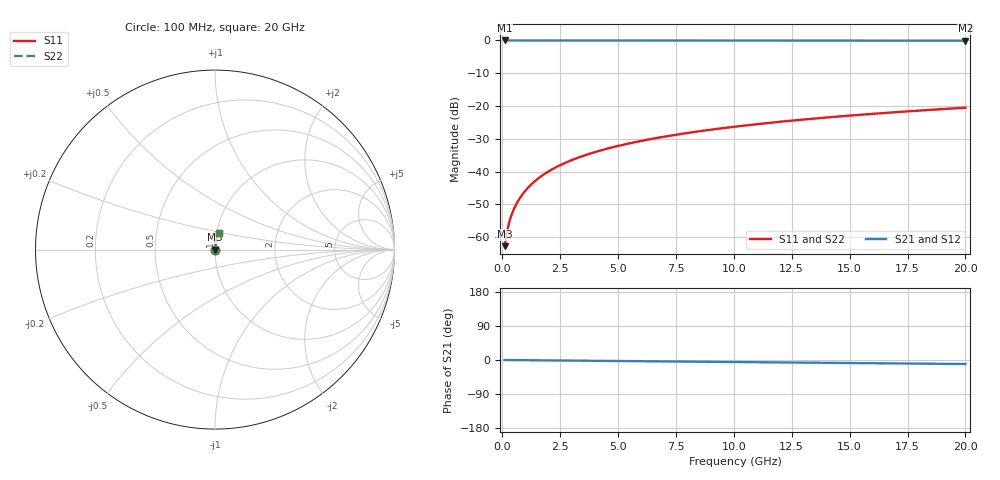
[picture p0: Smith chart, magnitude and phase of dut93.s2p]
! Touchstone file exported from HFSS 2026.1.0
!  File:  C:/ffzhzh/LocalFiles/Ansys_Project_Files/temp_train_BSMRDL_93_1782883290_42304.aedt
!  Generated:  01:22:37 PM Jul  1, 2026
!  Design:  BSMRDL
!  Project:  temp_train_BSMRDL_93_1782883290_42304
! Variables:
!  h_bsmrdl = 5.32um
!  h_ox = 20um
!  h_rdl = 5um
!  h_sub = 80um
!  h_tmrdl = 5um
!  h_tsv = 80um
!  h_via = 3um
!  l_bsmrdl = 126.65um
!  l_sub = 526.65um
!  l_tmrdl = 200um
!  m_sub = 200um
!  pitch = 51.74um
!  r_tsv = 6um
!  s_tmrdl = 10um
!  w_bsmrdl = 27.82um
!  w_sub = 500um
!  w_tmrdl = 12um
!  x_tsv_center1 = 206um
!  x_tsv_center2 = 360.47um
!  x_tsv_center3 = 572.47um
!  x_tsv_center4 = 726.94um
!  x_tsv_center5 = 938.94um
!  x_tsv_center6 = 1093.41um
# GHz S MA R 50.000000
! Terminal data exported
! Port[1] = BSM_RDL1_1_T1
! Port[2] = BSM_RDL1_1_T2
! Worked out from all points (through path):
!   200 points, 100 MHz to 20 GHz, reference 50 ohm
!   highest |S21| = 0.00 dB at 100 MHz (marker M1); lowest = -0.1 dB at 20 GHz (marker M2)
!   group delay of S21, straight-line fit = 1.47 ps
!   lowest |S11| = -62.8 dB at 100 MHz (marker M3), VSWR 1.00, Z = 50 + j0.0556 ohm
!   |S11| at or under -10 dB: start of sweep to end of sweep
!   |S22| runs from -62.8 to -20.5 dB; largest |S21 - S12| = 2.1e-15
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0.1  0.0007267 49.8  0.9995 -0.1  0.9995 -0.1  0.0007267 49.8
! Gamma 0 0 0 0
! Port Impedance 50 0 50 0
0.2  0.001202 65.0  0.9995 -0.1  0.9995 -0.1  0.001202 65.0
0.3  0.001693 71.1  0.9995 -0.2  0.9995 -0.2  0.001693 71.1
0.4  0.002182 74.5  0.9994 -0.2  0.9994 -0.2  0.002182 74.5
0.5  0.00267 76.8  0.9994 -0.3  0.9994 -0.3  0.00267 76.8
0.7  0.003646 79.6  0.9993 -0.4  0.9993 -0.4  0.003646 79.6
0.8  0.004136 80.6  0.9993 -0.4  0.9993 -0.4  0.004136 80.6
1  0.005119 81.9  0.9993 -0.5  0.9993 -0.5  0.005119 81.9
1.2  0.006105 82.8  0.9993 -0.7  0.9993 -0.7  0.006105 82.8
1.4  0.007093 83.4  0.9992 -0.8  0.9992 -0.8  0.007093 83.4
1.7  0.008574 84.0  0.9992 -0.9  0.9992 -0.9  0.008574 84.0
2  0.01005 84.3  0.9991 -1.1  0.9991 -1.1  0.01005 84.3
2.7  0.01349 84.6  0.999 -1.5  0.999 -1.5  0.01349 84.6
3.5  0.01738 84.6  0.9988 -1.9  0.9988 -1.9  0.01738 84.6
4.2  0.02076 84.4  0.9986 -2.3  0.9986 -2.3  0.02076 84.4
5  0.02459 84.2  0.9984 -2.7  0.9984 -2.7  0.02459 84.2
6.8  0.03313 83.6  0.9978 -3.7  0.9978 -3.7  0.03313 83.6
8.3  0.04018 83.0  0.9974 -4.5  0.9974 -4.5  0.04018 83.0
10.1  0.04861 82.2  0.9968 -5.4  0.9968 -5.4  0.04861 82.2
13.4  0.06396 80.8  0.9957 -7.1  0.9957 -7.1  0.06396 80.8
16.7  0.07918 79.3  0.9943 -8.9  0.9943 -8.9  0.07918 79.3
20  0.09423 77.7  0.9927 -10.6  0.9927 -10.6  0.09423 77.7
